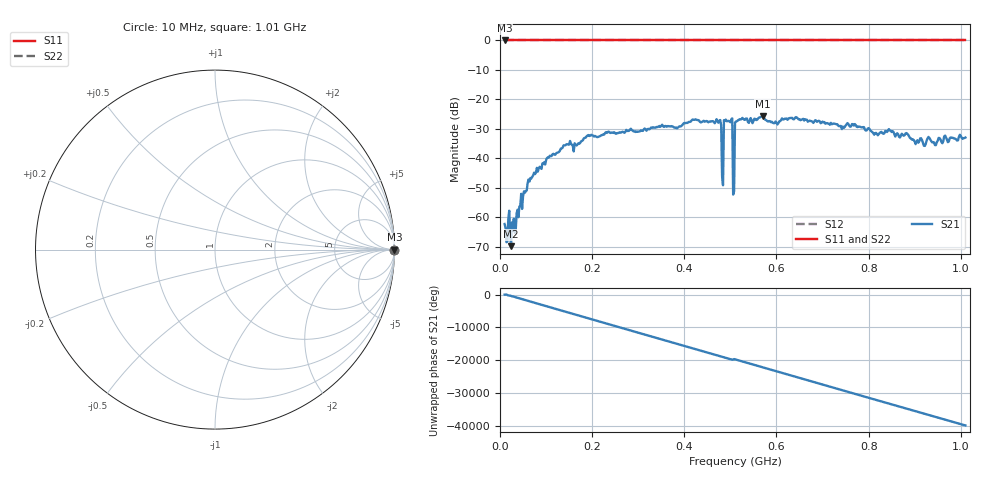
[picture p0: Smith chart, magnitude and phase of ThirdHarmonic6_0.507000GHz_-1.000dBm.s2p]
! 8/15/2025 3:22:58 PM
! C:\ANRITSUVNA\TEMP\TEMP.S2P
! CHANNEL.1
! TR.MEASUREMENT
! RAW.DATA
! RF.CORRECTION.OFF
! AVERAGING.OFF
! IF.BANDWIDTH: 5KHZ
! SWEEPTYPE:  FREQ.SWEEP(Linear)
! Reference Plane Port Info
! PORT:  PORT1  PORT2
! DISTANCE:  0  m  0  m
! TIME:  0  s  0  s
! PHASE.OFFSET:  0  deg.  0  deg.
! LOSS:  0  dB  0  dB
! REF.LOSS:  0  dB  0  dB
! REF.FREQ:  0  Hz  0  Hz
! Power Info
! POWER:  -20  dBm  -20  dBm
! EFF.POWER:  -20  dBm  -20  dBm
! SOURCE.ATTEN:  0  dB  0  dB
! TEST.ATTEN:  0  dB  0  dB
# GHZ S RI R 50.0
! FREQ.GHZ  S11RE  S11IM  S21RE  S21IM  S12RE  S12IM  S22RE  S22IM
!; PortSelection: Port_12
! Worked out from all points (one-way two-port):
!   501 points, 10 MHz to 1.01 GHz, reference 50 ohm
!   highest |S21| = -25.76 dB at 570 MHz (marker M1); lowest = -69.7 dB at 24 MHz (marker M2)
!   lowest |S11| = 0.0 dB at 10 MHz (marker M3)
!   |S11| at or under -10 dB: nowhere
!   |S22| runs from 0.0 to 0.0 dB; largest |S21 - S12| = 1.1
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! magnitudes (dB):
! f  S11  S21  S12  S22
! 10 MHz  0.0  -62.2  0.0  0.0
! 24 MHz  0.0  -69.7  0.0  0.0
! 28 MHz  0.0  -64.0  0.0  0.0
! 76 MHz  0.0  -45.3  0.0  0.0
! 142 MHz  0.0  -35.5  0.0  0.0
! 178 MHz  0.0  -34.1  0.0  0.0
! 344 MHz  0.0  -29.2  0.0  0.0
! 474 MHz  0.0  -27.9  0.0  0.0
! 476 MHz  0.0  -27.1  0.0  0.0
! 480 MHz  0.0  -28.8  0.0  0.0
! 484 MHz  0.0  -49.1  0.0  0.0
! 486 MHz  0.0  -27.1  0.0  0.0
! 490 MHz  0.0  -26.8  0.0  0.0
! 500 MHz  0.0  -27.7  0.0  0.0
! 504 MHz  0.0  -26.4  0.0  0.0
! 510 MHz  0.0  -27.8  0.0  0.0
! 514 MHz  0.0  -27.4  0.0  0.0
! 570 MHz  0.0  -25.8  0.0  0.0
! 678 MHz  0.0  -27.6  0.0  0.0
! 844 MHz  0.0  -30.0  0.0  0.0
! 920 MHz  0.0  -35.7  0.0  0.0
! 1.01 GHz  0.0  -32.9  0.0  0.0
